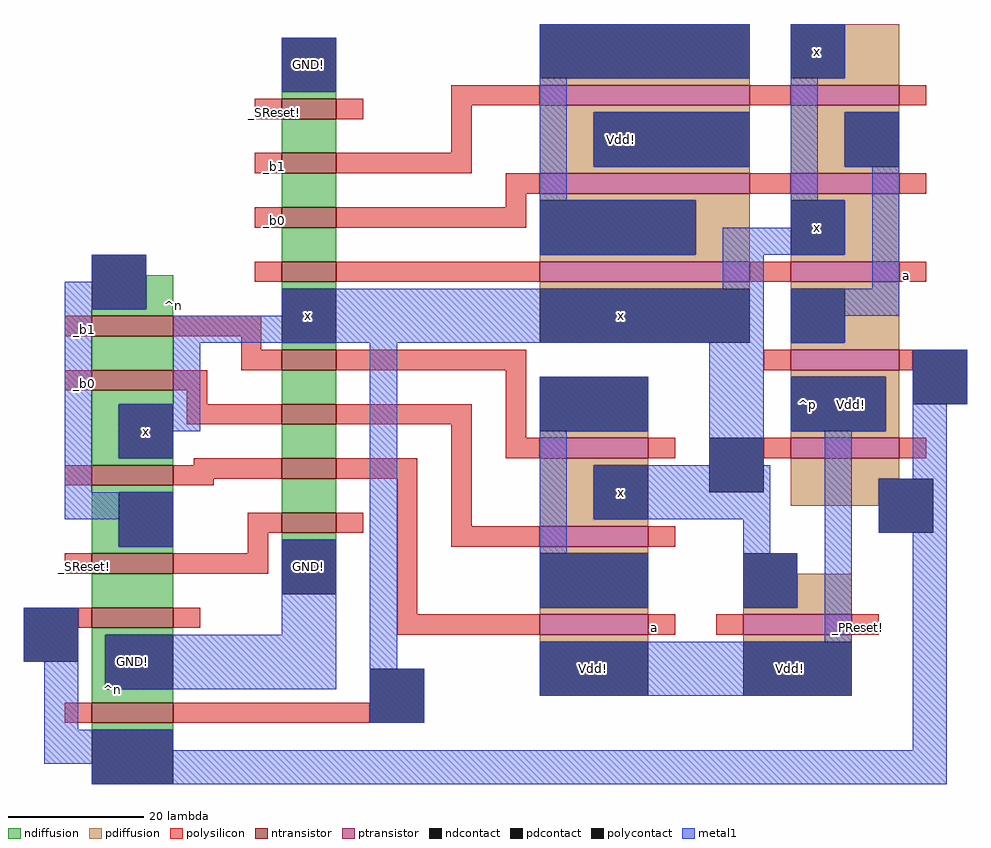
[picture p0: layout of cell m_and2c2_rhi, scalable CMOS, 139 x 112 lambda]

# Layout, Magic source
magic
tech scmos
<< ndiffusion >>
rect 13 148 21 149
rect 13 140 21 145
rect 13 132 21 137
rect 13 124 21 129
rect -7 117 -3 122
rect -15 116 -3 117
rect 13 120 21 121
rect -15 108 -3 113
rect 13 111 21 112
rect -15 103 -3 105
rect -15 95 -11 103
rect 13 103 21 108
rect 13 95 21 100
rect -15 94 -3 95
rect -15 90 -3 91
rect -15 82 -11 90
rect 13 87 21 92
rect -15 81 -3 82
rect 13 83 21 84
rect -15 73 -3 78
rect -15 69 -3 70
rect -15 61 -13 69
rect -15 59 -3 61
rect -15 55 -3 56
<< pdiffusion >>
rect 51 150 82 151
rect 96 151 104 159
rect 88 150 104 151
rect 51 146 82 147
rect 51 138 59 146
rect 51 137 82 138
rect 88 146 104 147
rect 88 138 96 146
rect 88 137 104 138
rect 51 133 82 134
rect 74 125 82 133
rect 51 124 82 125
rect 88 133 104 134
rect 96 125 104 133
rect 88 124 104 125
rect 51 120 82 121
rect 88 120 104 121
rect 96 112 104 120
rect 88 111 104 112
rect 88 107 104 108
rect 51 98 67 99
rect 102 99 104 107
rect 88 98 104 99
rect 51 94 67 95
rect 51 86 59 94
rect 88 92 104 95
rect 88 88 101 92
rect 51 85 67 86
rect 51 81 67 82
rect 51 72 67 73
rect 89 73 97 78
rect 81 72 97 73
rect 51 68 67 69
rect 81 68 97 69
<< ntransistor >>
rect 13 145 21 148
rect 13 137 21 140
rect 13 129 21 132
rect 13 121 21 124
rect -15 113 -3 116
rect 13 108 21 111
rect -15 105 -3 108
rect 13 100 21 103
rect -15 91 -3 94
rect 13 92 21 95
rect 13 84 21 87
rect -15 78 -3 81
rect -15 70 -3 73
rect -15 56 -3 59
<< ptransistor >>
rect 51 147 82 150
rect 88 147 104 150
rect 51 134 82 137
rect 88 134 104 137
rect 51 121 82 124
rect 88 121 104 124
rect 88 108 104 111
rect 51 95 67 98
rect 88 95 104 98
rect 51 82 67 85
rect 51 69 67 72
rect 81 69 97 72
<< polysilicon >>
rect 9 145 13 148
rect 21 145 25 148
rect 38 147 51 150
rect 82 147 88 150
rect 104 147 108 150
rect 38 140 41 147
rect 9 137 13 140
rect 21 137 41 140
rect 46 134 51 137
rect 82 134 88 137
rect 104 134 108 137
rect 46 132 49 134
rect 9 129 13 132
rect 21 129 49 132
rect 9 121 13 124
rect 21 121 51 124
rect 82 121 88 124
rect 104 121 108 124
rect -19 113 -15 116
rect -3 113 10 116
rect 7 111 10 113
rect 7 108 13 111
rect 21 108 49 111
rect 84 108 88 111
rect 104 108 106 111
rect -19 105 -15 108
rect -3 105 2 108
rect -1 103 2 105
rect -1 100 13 103
rect 21 100 41 103
rect 0 94 13 95
rect -19 91 -15 94
rect -3 92 13 94
rect 21 92 33 95
rect -3 91 3 92
rect 8 84 13 87
rect 21 84 25 87
rect 8 81 11 84
rect -19 78 -15 81
rect -3 78 11 81
rect -17 70 -15 73
rect -3 70 1 73
rect 30 72 33 92
rect 38 85 41 100
rect 46 98 49 108
rect 46 95 51 98
rect 67 95 71 98
rect 84 95 88 98
rect 104 95 108 98
rect 38 82 51 85
rect 67 82 71 85
rect 30 69 51 72
rect 67 69 71 72
rect 77 69 81 72
rect 97 69 101 72
rect -19 56 -15 59
rect -3 56 26 59
<< ndcontact >>
rect 13 149 21 157
rect -15 117 -7 125
rect 13 112 21 120
rect -11 95 -3 103
rect -11 82 -3 90
rect 13 75 21 83
rect -13 61 -3 69
rect -15 47 -3 55
<< pdcontact >>
rect 51 151 82 159
rect 88 151 96 159
rect 59 138 82 146
rect 96 138 104 146
rect 51 125 74 133
rect 88 125 96 133
rect 51 112 82 120
rect 88 112 96 120
rect 51 99 67 107
rect 88 99 102 107
rect 59 86 67 94
rect 101 84 109 92
rect 51 73 67 81
rect 81 73 89 81
rect 51 60 67 68
rect 81 60 97 68
<< polycontact >>
rect -25 65 -17 73
rect 106 103 114 111
rect 76 90 84 98
rect 26 56 34 64
<< metal1 >>
rect 13 149 21 157
rect 51 151 82 159
rect 88 151 96 159
rect 51 133 55 151
rect 59 138 82 146
rect 88 133 92 151
rect 96 138 104 146
rect 51 125 74 133
rect 88 129 96 133
rect 78 125 96 129
rect -15 121 -7 125
rect -19 117 -7 121
rect 78 120 84 125
rect 100 120 104 138
rect -19 90 -15 117
rect 13 116 84 120
rect -3 112 84 116
rect 88 116 104 120
rect 88 112 96 116
rect -3 103 1 112
rect -11 99 1 103
rect -11 95 -3 99
rect -19 86 -3 90
rect -11 82 -3 86
rect -25 65 -17 73
rect 13 69 21 83
rect -22 55 -17 65
rect -13 61 21 69
rect 26 64 30 112
rect 51 99 67 107
rect 51 81 55 99
rect 76 94 84 112
rect 88 99 102 107
rect 106 103 114 111
rect 59 86 85 94
rect 81 81 85 86
rect 51 73 67 81
rect 81 73 89 81
rect 93 68 97 99
rect 106 92 111 103
rect 101 84 111 92
rect 26 56 34 64
rect 51 60 97 68
rect -22 52 -3 55
rect 106 52 111 84
rect -22 50 111 52
rect -15 47 111 50
<< labels >>
rlabel polysilicon 105 122 105 122 1 a
rlabel metal1 92 129 92 129 1 x
rlabel metal1 92 155 92 155 5 x
rlabel polysilicon 68 70 68 70 1 a
rlabel metal1 63 116 63 116 1 x
rlabel metal1 63 90 63 90 1 x
rlabel metal1 63 142 63 142 1 Vdd!
rlabel metal1 59 64 59 64 1 Vdd!
rlabel polysilicon 12 138 12 138 1 _b1
rlabel polysilicon 12 130 12 130 1 _b0
rlabel metal1 17 79 17 79 1 GND!
rlabel metal1 -7 99 -7 99 1 x
rlabel polysilicon -16 106 -16 106 1 _b0
rlabel polysilicon -16 114 -16 114 1 _b1
rlabel metal1 -9 65 -9 65 1 GND!
rlabel polysilicon -16 79 -16 79 1 _SReset!
rlabel metal1 17 153 17 153 5 GND!
rlabel polysilicon 12 146 12 146 1 _SReset!
rlabel metal1 17 116 17 116 5 x
rlabel metal1 88 64 88 64 1 Vdd!
rlabel polysilicon 98 70 98 70 1 _PReset!
rlabel metal1 97 103 97 103 1 Vdd!
rlabel space -20 77 14 158 7 ^n
rlabel space -26 46 2 76 7 ^n
rlabel space 66 46 115 160 3 ^p
<< end >>
